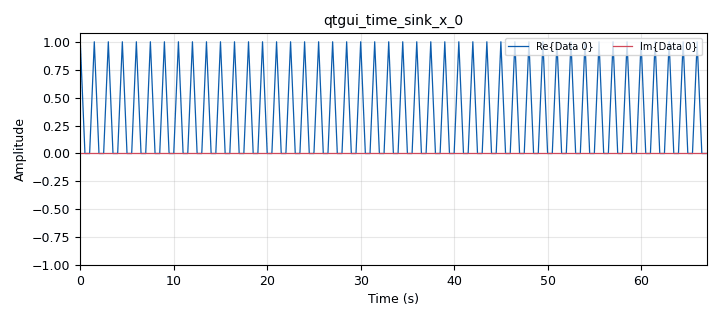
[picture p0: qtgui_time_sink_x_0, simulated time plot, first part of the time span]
options:
  parameters:
    generate_options: qt_gui
    id: default
    output_language: python
    title: Not titled yet
  states: {}

blocks:
- name: samp_rate
  id: variable
  parameters:
    value: '2'
  states: {}
- name: blocks_throttle2_0
  id: blocks_throttle2
  parameters:
    samples_per_second: samp_rate
    type: complex
  states: {}
- name: blocks_vector_source_x_0
  id: blocks_vector_source_x
  parameters:
    repeat: 'True'
    type: complex
    vector: (0,1,0)
  states: {}
- name: qtgui_time_sink_x_0
  id: qtgui_time_sink_x
  parameters:
    size: '1024'
    srate: samp_rate
    type: complex
  states: {}

connections:
- [blocks_throttle2_0, '0', qtgui_time_sink_x_0, '0']
- [blocks_vector_source_x_0, '0', blocks_throttle2_0, '0']

metadata:
  file_format: 1
  grc_version: 3.10.11.0
